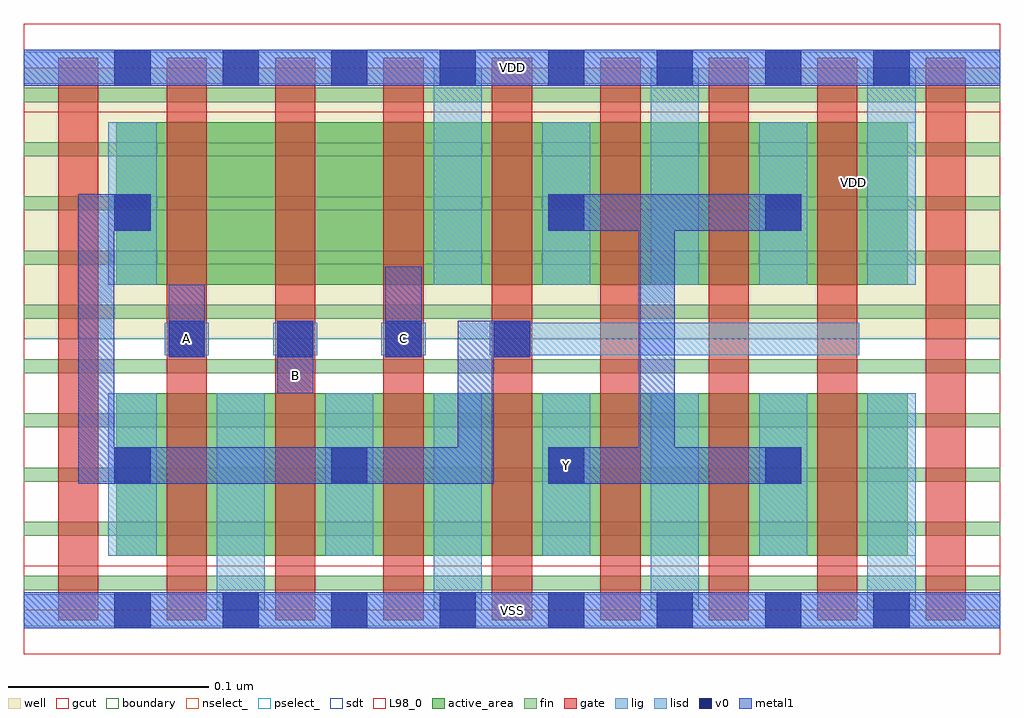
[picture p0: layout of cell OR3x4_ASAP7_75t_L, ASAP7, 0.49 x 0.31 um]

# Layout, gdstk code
import gdstk
lib = gdstk.Library(unit=1e-6, precision=2.5e-10)
def R(c, l, rs):  # rectangles x0, y0, x1, y1
    for r in rs: c.add(gdstk.rectangle(r[:2], r[2:], *l))
def A(c, l, x, y, w, h, nx, ny, dx, dy):  # array of equal rectangles
    R(c, l, [(x+i*dx, y+j*dy, x+i*dx+w, y+j*dy+h) for i in range(nx) for j in range(ny)])
def P(c, l, *ps):  # polygons
    for p in ps: c.add(gdstk.Polygon(p, *l))
well = (1, 0)
fin = (2, 0)
gate = (7, 0)
gcut = (10, 0)
active_area = (11, 0)
nselect_ = (12, 0)
pselect_ = (13, 0)
lig = (16, 0)
lisd = (17, 0)
v0 = (18, 0)
metal1 = (19, 0)
sdt = (88, 0)
L98_0 = (98, 0)
boundary = (100, 0)

or3x4_asap7_75t_l = lib.new_cell('OR3x4_ASAP7_75t_L')
R(or3x4_asap7_75t_l, well, [(0,0.135,0.486,0.27)])
A(or3x4_asap7_75t_l, fin, 0, 0.01, 0.486, 0.007, 1, 10, 0, 0.027)
A(or3x4_asap7_75t_l, gate, 0.017, -0.005, 0.02, 0.28, 9, 1, 0.054, 0)
R(or3x4_asap7_75t_l, gcut, [(0,-0.022,0.486,0.022), (0,0.248,0.486,0.292)])
R(or3x4_asap7_75t_l, active_area, [(0.046,0.027,0.44,0.108), (0.046,0.162,0.44,0.243)])
R(or3x4_asap7_75t_l, nselect_, [(0,0,0.486,0.135)])
R(or3x4_asap7_75t_l, pselect_, [(0,0.135,0.486,0.27)])
A(or3x4_asap7_75t_l, lig, 0.07, 0.127, 0.022, 0.016, 3, 1, 0.054, 0)
R(or3x4_asap7_75t_l, lig, [(0,-0.008,0.486,0.008), (0.232,0.127,0.416,0.143), (0,0.262,0.486,0.278)])
A(or3x4_asap7_75t_l, lisd, 0.096, 0, 0.024, 0.108, 4, 1, 0.108, 0)
A(or3x4_asap7_75t_l, lisd, 0.042, 0.027, 0.024, 0.081, 4, 1, 0.108, 0)
A(or3x4_asap7_75t_l, lisd, 0.204, 0.162, 0.024, 0.108, 3, 1, 0.108, 0)
R(or3x4_asap7_75t_l, lisd, [(0.042,0.162,0.066,0.243), (0.258,0.162,0.282,0.243), (0.366,0.162,0.39,0.243)])
A(or3x4_asap7_75t_l, v0, 0.045, -0.009, 0.018, 0.018, 8, 2, 0.054, 0.27)
A(or3x4_asap7_75t_l, v0, 0.045, 0.063, 0.018, 0.018, 4, 1, 0.108, 0)
A(or3x4_asap7_75t_l, v0, 0.072, 0.126, 0.018, 0.018, 4, 1, 0.054, 0)
R(or3x4_asap7_75t_l, v0, [(0.045,0.189,0.063,0.207), (0.261,0.189,0.279,0.207), (0.369,0.189,0.387,0.207)])
R(or3x4_asap7_75t_l, metal1, [(0,-0.009,0.486,0.009), (0.126,0.108,0.144,0.144), (0.072,0.126,0.09,0.162), (0.18,0.126,0.198,0.171), (0,0.261,0.486,0.279)])
P(or3x4_asap7_75t_l, metal1, [(0.387,0.207),(0.261,0.207),(0.261,0.189),(0.306,0.189),(0.306,0.081),(0.261,0.081),(0.261,0.063),(0.387,0.063),(0.387,0.081),(0.324,0.081),(0.324,0.189),(0.387,0.189)],
  [(0.234,0.126),(0.252,0.126),(0.252,0.144),(0.216,0.144),(0.216,0.081),(0.045,0.081),(0.045,0.189),(0.063,0.189),(0.063,0.207),(0.027,0.207),(0.027,0.063),(0.234,0.063)])
A(or3x4_asap7_75t_l, sdt, 0.042, 0.027, 0.024, 0.081, 8, 1, 0.054, 0)
A(or3x4_asap7_75t_l, sdt, 0.204, 0.162, 0.024, 0.081, 5, 1, 0.054, 0)
R(or3x4_asap7_75t_l, sdt, [(0.042,0.162,0.066,0.243)])
R(or3x4_asap7_75t_l, L98_0, [(0,0,0.486,0.27)])
R(or3x4_asap7_75t_l, boundary, [(0,0,0.486,0.27)])
or3x4_asap7_75t_l.add(gdstk.Label('A', (0.081,0.135), layer=19, texttype=251))
or3x4_asap7_75t_l.add(gdstk.Label('Y', (0.27,0.072), layer=19, texttype=251))
or3x4_asap7_75t_l.add(gdstk.Label('B', (0.135,0.117), layer=19, texttype=251))
or3x4_asap7_75t_l.add(gdstk.Label('C', (0.189,0.135), layer=19, texttype=251))
or3x4_asap7_75t_l.add(gdstk.Label('VSS', (0.243,0), layer=19, texttype=251))
or3x4_asap7_75t_l.add(gdstk.Label('VDD', (0.243,0.27), layer=19, texttype=251))
or3x4_asap7_75t_l.add(gdstk.Label('VDD', (0.413,0.213), layer=1, texttype=251))
or3x4_asap7_75t_l.add(gdstk.Label('VSS', (0.559,0.213), layer=3, texttype=251))

lib.write_gds('OR3x4_ASAP7_75t_L.gds')
